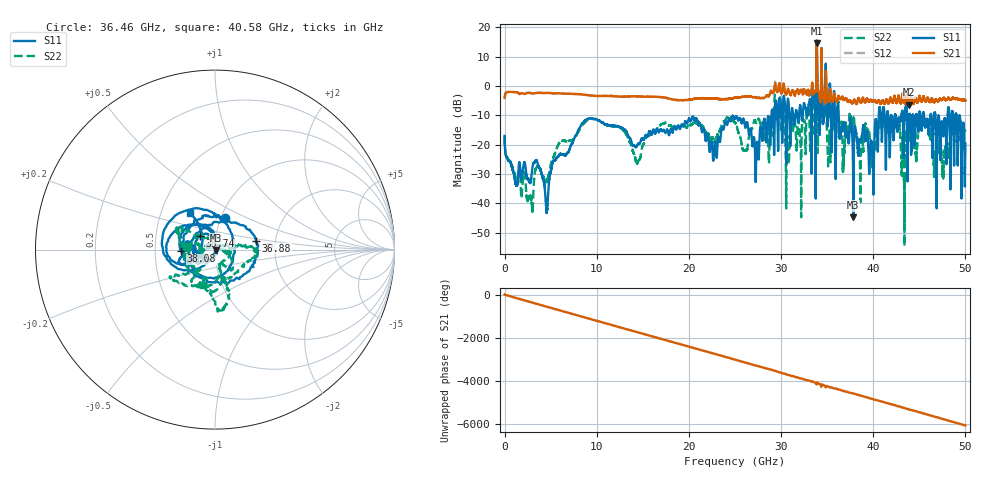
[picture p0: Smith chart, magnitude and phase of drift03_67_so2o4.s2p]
!Created with skrf (http://scikit-rf.org).
# Hz S RI R 50.0
!freq ReS11 ImS11 ReS21 ImS21 ReS12 ImS12 ReS22 ImS22
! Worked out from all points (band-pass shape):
!   10001 points, 300 kHz to 50 GHz, reference 50 ohm
!   highest |S21| = 14.57 dB at 33.88 GHz (marker M1); lowest = -6.3 dB at 43.87 GHz (marker M2)
!   |S21| within 3 dB of the highest: 33.86943 GHz to 33.88821 GHz (18.78 MHz wide, 0.0554 % of centre); 34.3775 GHz to 34.38848 GHz (10.98 MHz wide, 0.0319 % of centre)
!   lowest |S11| = -44.7 dB at 37.84 GHz (marker M3), VSWR 1.01, Z = 50.6 - j0.186 ohm
!   |S11| at or under -10 dB: start of sweep to 28.94 GHz; 36.26 GHz to 40.6 GHz (4.337 GHz wide, 11.3 % of centre); 46.75 GHz to 48.08 GHz (1.326 GHz wide, 2.8 % of centre) (the widest 3 of 63)
!   |S22| runs from -54.6 to 11.3 dB; largest |S21 - S12| = 0.82
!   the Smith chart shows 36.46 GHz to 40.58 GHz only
!   S11 on the Smith chart (normalised r, x): 36.46 GHz: 1.05, +0.38; 36.88 GHz: 1.58, +0.17; 38.08 GHz: 0.68, -0.01; 39.74 GHz: 0.84, +0.13; 40.58 GHz: 0.70, +0.31
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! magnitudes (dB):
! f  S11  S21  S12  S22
! 300 kHz  -17.0  -4.0  -4.1  -16.9
! 2.82 GHz  -32.7  -2.4  -2.4  -37.9
! 4.555 GHz  -43.3  -2.3  -2.3  -32.5
! 8.335 GHz  -13.1  -2.8  -2.8  -13.9
! 14.44 GHz  -19.9  -3.5  -3.5  -26.1
! 16.67 GHz  -15.4  -3.7  -3.7  -14.3
! 22.82 GHz  -19.3  -4.3  -4.3  -19.1
! 25 GHz  -10.9  -4.0  -4.0  -12.5
! 27.39 GHz  -19.3  -4.1  -4.1  -12.4
! 29.6 GHz  -10.5  -2.0  -2.1  -11.7
! 30.7 GHz  -5.8  -1.4  -1.5  -17.2
! 33.34 GHz  -14.1  -0.4  -0.5  -7.0
! 33.88 GHz  15.6  14.6  14.2  11.1
! 36.46 GHz  -14.8  -4.3  -4.4  -16.1
! 36.88 GHz  -12.6  -4.6  -4.6  -21.9
! 37.84 GHz  -44.7  -5.4  -5.5  -11.2
! 38.08 GHz  -14.5  -5.5  -5.4  -17.0
! 39.74 GHz  -19.0  -4.6  -4.5  -21.9
! 40.58 GHz  -12.2  -4.9  -5.0  -13.5
! 41.67 GHz  -12.0  -6.0  -5.9  -15.1
! 43.87 GHz  -9.8  -6.3  -6.2  -17.3
! 50 GHz  -19.6  -4.9  -4.9  -15.2
